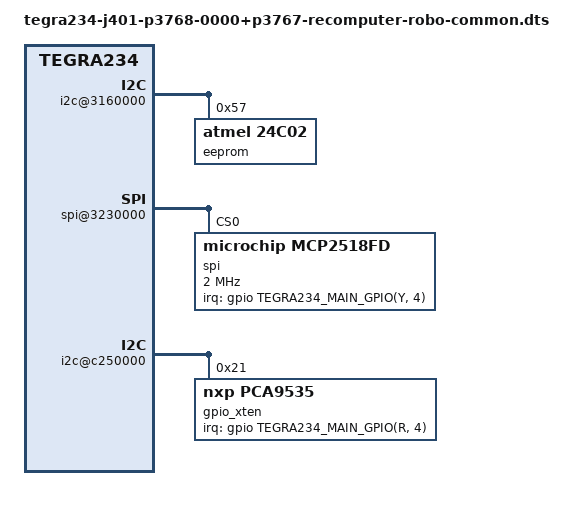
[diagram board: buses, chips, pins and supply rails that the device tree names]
// SPDX-License-Identifier: GPL-2.0-only
// SPDX-FileCopyrightText: Copyright (c) 2023, NVIDIA CORPORATION & AFFILIATES.  All rights reserved.

/dts-v1/;

#include "tegra234-robo-j401-p3768-0000+p3767-0000.dts"
#include "tegra234-p3768-0000+p3767-xxxx-nv-common.dtsi"
#include <dt-bindings/tegra234-p3767-0000-common.h>

/ {
        bus@0 {
                i2c@3160000 {
                        #address-cells = <1>;
                        #size-cells = <0>;

                        eeprom@57 {
                                compatible = "atmel,24c02";
                                reg = <0x57>;
                                /*8 bit*/
                                address-width = <0x08>;
                                /*256 bytes */
                                size = <0x100>;
				/delete-property/ read-only;
                        };
                };

                can_clock: can_clock {
                        compatible = "fixed-clock";
                        #clock-cells = <0>;
                        clock-frequency = <40000000>;
                        clock-accuracy = <100>;
                };

		spi@3230000 {
        	        #address-cells = <0x01>;
        	        #size-cells = <0x00>;

        	        status = "okay";

			spi@0 {
				compatible = "microchip,mcp2518fd";
				reg = <0x0>;
				spi-max-frequency = <2000000>;
				interrupt-parent = <&gpio>;
				interrupts = <TEGRA234_MAIN_GPIO(Y, 4) IRQ_TYPE_LEVEL_LOW>;
				clocks = <&can_clock>;
				nvidia,enable-hw-based-cs;
				controller-data {
					nvidia,enable-hw-based-cs;
					nvidia,rx-clk-tap-delay = <0x10>;
					nvidia,tx-clk-tap-delay = <0x0>;
				};
			};
		};

		i2c@c250000 {
        	        status = "okay";
			#address-cells = <1>;
			#size-cells = <0>;

			gpio_xten: gpio_xten@21 {
				compatible = "nxp,pca9535";
				reg = <0x21>;
		                gpio-controller;
		                #gpio-cells = <2>;
		
		                interrupt-controller;
		                #interrupt-cells=<2>;
		
		                interrupt-parent = <&gpio>;
		                interrupts = <TEGRA234_MAIN_GPIO(R, 4) IRQ_TYPE_EDGE_FALLING>;
		
				gpio-line-names =
					"LED_RED_3V3"	,"LED_BLUE_3V3",
					"LED_GREEN_3V3"	,"CAN0_STBY_3V3",
					"CAN1_STBY_3V3"	,"UART1_EN_3V3",
					"CAM_VDD_EN_3V3","AP_WAKE_BT_3V3",
					"USB_HUB_RST_3V3","PCIe_RST_3V3",
					"PCIe_ETH_RST_3V3","M2B_W_DISABLE2#_3V3",
					"M2B_W_DISABLE1#_3V3","M2B_DPR_3V3",
					"M2B_PCIe_RST_3V3","not_used";

				gpio-line-offsets = <0>, <1>, <2>, <3>, <4>, <5>, <6>, <7>, <8>, <9>, <10>, <11>, <12>, <13>, <14>, <15>;
				// CAM_VDD_EN_3V3 {
                                //         gpio-hog;
				// 	gpios = <&gpio_xten 6 GPIO_ACTIVE_HIGH>;
				// 	output-high;
				// 	line-name = "CAM_VDD_EN_3V3";
				// };
                                //set CAM_VDD_EN_3V3 as led light default

			};

		};

		pinmux@2430000 {
		        pinctrl-names = "default";
		        pinctrl-0 = <&jetson_io_pinmux>;
		
		        jetson_io_pinmux: exp-header-pinmux {
                                hdr40-pin13 {
                                        nvidia,pins = HDR40_PIN13;
                                        nvidia,function = "spi3";
                                        nvidia,pull = <TEGRA_PIN_PULL_DOWN>;
                                        nvidia,tristate = <TEGRA_PIN_DISABLE>;
                                        nvidia,enable-input = <TEGRA_PIN_DISABLE>;
                                };
                                hdr40-pin37 {
                                        nvidia,pins = HDR40_PIN37;
                                        nvidia,function = "spi3";
                                        nvidia,pull = <TEGRA_PIN_PULL_DOWN>;
                                        nvidia,tristate = <TEGRA_PIN_DISABLE>;
                                        nvidia,enable-input = <TEGRA_PIN_ENABLE>;
                                };
                                hdr40-pin22 {
                                        nvidia,pins = HDR40_PIN22;
                                        nvidia,function = "spi3";
                                        nvidia,pull = <TEGRA_PIN_PULL_DOWN>;
                                        nvidia,tristate = <TEGRA_PIN_DISABLE>;
                                        nvidia,enable-input = <TEGRA_PIN_ENABLE>;
                                };
                                hdr40-pin18 {
                                        nvidia,pins = HDR40_PIN18;
                                        nvidia,function = "spi3";
                                        nvidia,pull = <TEGRA_PIN_PULL_UP>;
                                        nvidia,tristate = <TEGRA_PIN_DISABLE>;
                                        nvidia,enable-input = <TEGRA_PIN_DISABLE>;
                                };
                                hdr40-pin16 {
                                        nvidia,pins = HDR40_PIN16;
                                        nvidia,function = "rsvd1";
                                        nvidia,pull = <TEGRA_PIN_PULL_UP>;
                                        nvidia,tristate = <TEGRA_PIN_ENABLE>;
                                        nvidia,enable-input = <TEGRA_PIN_ENABLE>;
                                };
		        };
		};
        };
};
